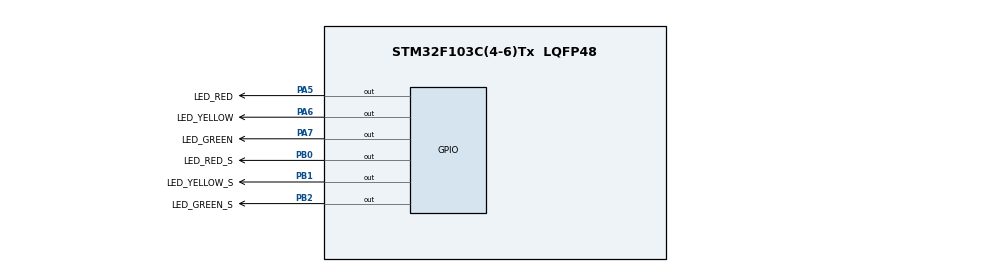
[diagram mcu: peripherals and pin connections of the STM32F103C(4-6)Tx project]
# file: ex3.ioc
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Mcu.Family=STM32F1
Mcu.Name=STM32F103C(4-6)Tx
Mcu.Package=LQFP48
NVIC.PriorityGroup=NVIC_PRIORITYGROUP_4
PA5.GPIO_Label=LED_RED
PA5.Signal=GPIO_Output
PA6.GPIO_Label=LED_YELLOW
PA6.Signal=GPIO_Output
PA7.GPIO_Label=LED_GREEN
PA7.Signal=GPIO_Output
PB0.GPIO_Label=LED_RED_S
PB0.Signal=GPIO_Output
PB1.GPIO_Label=LED_YELLOW_S
PB1.Signal=GPIO_Output
PB2.GPIO_Label=LED_GREEN_S
PB2.Signal=GPIO_Output
ProjectManager.HeapSize=0x200
ProjectManager.StackSize=0x400
ProjectManager.TargetToolchain=STM32CubeIDE
RCC.APB1Freq_Value=8000000
RCC.APB2Freq_Value=8000000
board=custom

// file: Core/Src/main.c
/* USER CODE BEGIN Header */
/**
  ******************************************************************************
  * @file           : main.c
  * @brief          : Main program body
  ******************************************************************************
  * @attention
  *
  * Copyright (c) 2022 STMicroelectronics.
  * All rights reserved.
  *
  * This software is licensed under terms that can be found in the LICENSE file
  * in the root directory of this software component.
  * If no LICENSE file comes with this software, it is provided AS-IS.
  *
  ******************************************************************************
  */
/* USER CODE END Header */
#include "main.h"

/* USER CODE BEGIN PV */
const int redTime =5;
const int yellowTime = 2;
const int greenTime = 3;

typedef enum LEDState {
	off,on
} eLEDState;

typedef enum ColorState {
	red, yellow, green
} eColorState;

void SwitchRed (eLEDState state){
	if (state == on){
		HAL_GPIO_WritePin(LED_RED_GPIO_Port, LED_RED_Pin, RESET);
	}
	if (state == off) {
		HAL_GPIO_WritePin(LED_RED_GPIO_Port, LED_RED_Pin, SET);
	}
}

void SwitchYellow (eLEDState state){
	if (state == on){
		HAL_GPIO_WritePin(LED_YELLOW_GPIO_Port, LED_YELLOW_Pin, RESET);
	}
	if (state == off) {
		HAL_GPIO_WritePin(LED_YELLOW_GPIO_Port, LED_YELLOW_Pin, SET);
	}
}

void SwitchGreen (eLEDState state){
	if (state == on){
		HAL_GPIO_WritePin(LED_GREEN_GPIO_Port, LED_GREEN_Pin, RESET);
	}
	if (state == off) {
		HAL_GPIO_WritePin(LED_GREEN_GPIO_Port, LED_GREEN_Pin, SET);
	}
}

void SwitchRedS (eLEDState state){
	if (state == on){
		HAL_GPIO_WritePin(LED_RED_S_GPIO_Port, LED_RED_S_Pin, RESET);
	}
	if (state == off) {
		HAL_GPIO_WritePin(LED_RED_S_GPIO_Port, LED_RED_S_Pin, SET);
	}
}

void SwitchYellowS (eLEDState state){
	if (state == on){
		HAL_GPIO_WritePin(LED_YELLOW_S_GPIO_Port, LED_YELLOW_S_Pin, RESET);
	}
	if (state == off) {
		HAL_GPIO_WritePin(LED_YELLOW_S_GPIO_Port, LED_YELLOW_S_Pin, SET);
	}
}

void SwitchGreenS (eLEDState state){
	if (state == on){
		HAL_GPIO_WritePin(LED_GREEN_S_GPIO_Port, LED_GREEN_S_Pin, RESET);
	}
	if (state == off) {
		HAL_GPIO_WritePin(LED_GREEN_S_GPIO_Port, LED_GREEN_S_Pin, SET);
	}
}

/* USER CODE END PV */

void SystemClock_Config(void);
static void MX_GPIO_Init(void);

int main(void)
{

  /* MCU Configuration--------------------------------------------------------*/

  /* Reset of all peripherals, Initializes the Flash interface and the Systick. */
  HAL_Init();

  /* Configure the system clock */
  SystemClock_Config();

  /* Initialize all configured peripherals */
  MX_GPIO_Init();
  /* USER CODE BEGIN 2 */
  int counter0 = 0;
  eColorState currentState0 = yellow;

  //
  int counter1 = 0;
  eColorState currentState1 = red;

  //green begin in 0
  //red begin in 1
//  int counter1 = 0;
//  eColorState currentState1 = yellow;
  //RED -> GREEN -> YELLOW
  //GREEN -> YELLOW -> RED

  /* USER CODE END 2 */

  /* Infinite loop */
  /* USER CODE BEGIN WHILE */
  while (1)
  {
	  //top-bottom
	  eColorState nextState0,nextState1;
	  if (counter0 == 0){
		  if (currentState0 == red) {
			  //red to green
			  nextState0 = green;
			  counter0 = greenTime;
			  SwitchRed(off);
			  SwitchYellow(off);
			  SwitchGreen(on);
		  }
		  if (currentState0 == yellow) {
			  //yellow to red
			  nextState0 = red;
			  counter0 = redTime;
			  SwitchRed(on);
			  SwitchYellow(off);
			  SwitchGreen(off);
		  }
		  if (currentState0 == green) {
			  //green to yellow
			  nextState0 = yellow;
			  counter0 = yellowTime;
			  SwitchRed(off);
			  SwitchYellow(on);
			  SwitchGreen(off);
		  }

	  }

	  if (counter0 > 0) {
		  counter0--;
	  }
	  currentState0 = nextState0;

	  //left-right
	  if (counter1 == 0){
		  if (currentState1 == red) {
			  //red to green
			  nextState1 = green;
			  counter1 = greenTime;
			  SwitchRedS(off);
			  SwitchYellowS(off);
			  SwitchGreenS(on);
		  }
		  if (currentState1 == yellow) {
			  //yellow to red
			  nextState1 = red;
			  counter1 = redTime;
			  SwitchRedS(on);
			  SwitchYellowS(off);
			  SwitchGreenS(off);
		  }
		  if (currentState1 == green) {
			  //green to yellow
			  nextState1 = yellow;
			  counter1 = yellowTime;
			  SwitchRedS(off);
			  SwitchYellowS(on);
			  SwitchGreenS(off);
		  }
	  }

	  if (counter1 > 0) {
		  counter1--;
	  }
	  currentState1 = nextState1;

	  HAL_Delay(1000);
    /* USER CODE END WHILE */

  }
}

void SystemClock_Config(void)
{
  RCC_OscInitTypeDef RCC_OscInitStruct = {0};
  RCC_ClkInitTypeDef RCC_ClkInitStruct = {0};

  /** Initializes the RCC Oscillators according to the specified parameters
  * in the RCC_OscInitTypeDef structure.
  */
  RCC_OscInitStruct.OscillatorType = RCC_OSCILLATORTYPE_HSI;
  RCC_OscInitStruct.HSIState = RCC_HSI_ON;
  RCC_OscInitStruct.HSICalibrationValue = RCC_HSICALIBRATION_DEFAULT;
  RCC_OscInitStruct.PLL.PLLState = RCC_PLL_NONE;
  if (HAL_RCC_OscConfig(&RCC_OscInitStruct) != HAL_OK)
  {
    Error_Handler();
  }

  /** Initializes the CPU, AHB and APB buses clocks
  */
  RCC_ClkInitStruct.ClockType = RCC_CLOCKTYPE_HCLK|RCC_CLOCKTYPE_SYSCLK
                              |RCC_CLOCKTYPE_PCLK1|RCC_CLOCKTYPE_PCLK2;
  RCC_ClkInitStruct.SYSCLKSource = RCC_SYSCLKSOURCE_HSI;
  RCC_ClkInitStruct.AHBCLKDivider = RCC_SYSCLK_DIV1;
  RCC_ClkInitStruct.APB1CLKDivider = RCC_HCLK_DIV1;
  RCC_ClkInitStruct.APB2CLKDivider = RCC_HCLK_DIV1;

  if (HAL_RCC_ClockConfig(&RCC_ClkInitStruct, FLASH_LATENCY_0) != HAL_OK)
  {
    Error_Handler();
  }
}

static void MX_GPIO_Init(void)
{
  GPIO_InitTypeDef GPIO_InitStruct = {0};

  /* GPIO Ports Clock Enable */
  __HAL_RCC_GPIOA_CLK_ENABLE();
  __HAL_RCC_GPIOB_CLK_ENABLE();

  /*Configure GPIO pin Output Level */
  HAL_GPIO_WritePin(GPIOA, LED_RED_Pin|LED_YELLOW_Pin|LED_GREEN_Pin, GPIO_PIN_RESET);

  /*Configure GPIO pin Output Level */
  HAL_GPIO_WritePin(GPIOB, LED_RED_S_Pin|LED_YELLOW_S_Pin|LED_GREEN_S_Pin, GPIO_PIN_RESET);

  /*Configure GPIO pins : LED_RED_Pin LED_YELLOW_Pin LED_GREEN_Pin */
  GPIO_InitStruct.Pin = LED_RED_Pin|LED_YELLOW_Pin|LED_GREEN_Pin;
  GPIO_InitStruct.Mode = GPIO_MODE_OUTPUT_PP;
  GPIO_InitStruct.Pull = GPIO_NOPULL;
  GPIO_InitStruct.Speed = GPIO_SPEED_FREQ_LOW;
  HAL_GPIO_Init(GPIOA, &GPIO_InitStruct);

  /*Configure GPIO pins : LED_RED_S_Pin LED_YELLOW_S_Pin LED_GREEN_S_Pin */
  GPIO_InitStruct.Pin = LED_RED_S_Pin|LED_YELLOW_S_Pin|LED_GREEN_S_Pin;
  GPIO_InitStruct.Mode = GPIO_MODE_OUTPUT_PP;
  GPIO_InitStruct.Pull = GPIO_NOPULL;
  GPIO_InitStruct.Speed = GPIO_SPEED_FREQ_LOW;
  HAL_GPIO_Init(GPIOB, &GPIO_InitStruct);

}

void Error_Handler(void)
{
  __disable_irq();
  while (1)
  {
  }
}
